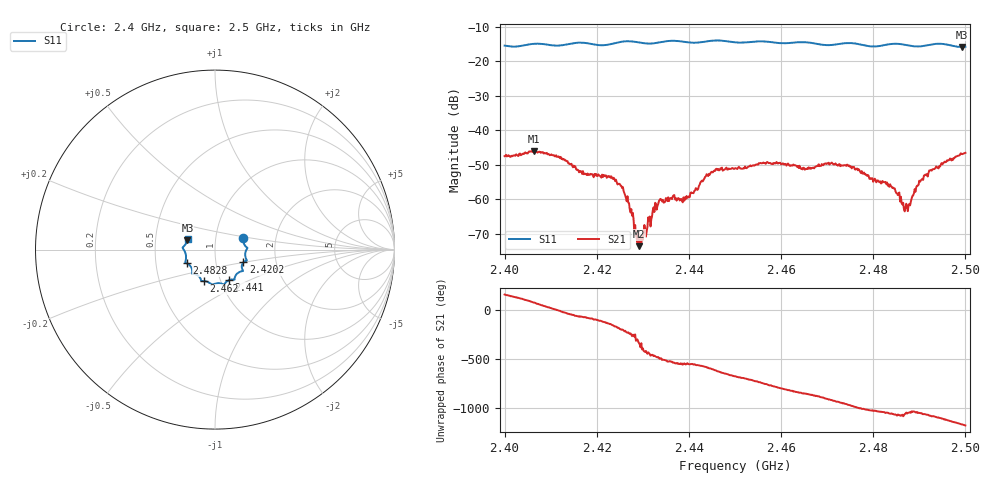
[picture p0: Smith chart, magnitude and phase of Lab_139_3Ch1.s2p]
# Hz S RI R 50
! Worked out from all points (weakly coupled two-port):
!   601 points, 2.4 GHz to 2.5 GHz, reference 50 ohm
!   highest |S21| = -46.02 dB at 2.4063 GHz (marker M1); lowest = -73.6 dB at 2.4292 GHz (marker M2)
!   lowest |S11| = -15.8 dB at 2.4993 GHz (marker M3), VSWR 1.39, Z = 36.5 + j3.86 ohm
!   |S11| at or under -10 dB: start of sweep to end of sweep
!   S12 and S22 are empty: the file has one direction only
!   S11 on the Smith chart (normalised r, x): 2.4 GHz: 1.36, +0.17; 2.4202 GHz: 1.36, -0.20; 2.441 GHz: 1.10, -0.39; 2.462 GHz: 0.84, -0.30; 2.4828 GHz: 0.72, -0.11; 2.5 GHz: 0.73, +0.09
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2.4e9  0.158 0.0623  -0.00377 0.00188  0 0  0 0
2.406333e9  0.1801 0.0108  0.00158 0.00474  0 0  0 0
2.411667e9  0.1682 -0.0248  0.00415 -0.000608  0 0  0 0
2.416667e9  0.1772 -0.0608  0.000844 -0.00238  0 0  0 0
2.420167e9  0.158 -0.0711  -0.000572 -0.0021  0 0  0 0
2.425333e9  0.155 -0.1152  -0.00143 0.000611  0 0  0 0
2.427167e9  0.1558 -0.1192  -0.00029 0.000648  0 0  0 0
2.429167e9  0.1442 -0.1215  0.000196 7e-05  0 0  0 0
2.433333e9  0.1115 -0.151  -0.000442 -0.000728  0 0  0 0
2.438833e9  0.0986 -0.1663  -0.00105 0.000203  0 0  0 0
2.441e9  0.0785 -0.1696  -0.00116 0.000376  0 0  0 0
2.4455e9  0.0511 -0.1945  -0.000788 0.00248  0 0  0 0
2.45e9  0.0282 -0.1876  0.00201 0.00197  0 0  0 0
2.462e9  -0.0607 -0.1756  -0.000687 -0.00296  0 0  0 0
2.466667e9  -0.0787 -0.1681  -0.00227 -0.00167  0 0  0 0
2.474333e9  -0.1266 -0.1346  -0.00148 0.00281  0 0  0 0
2.482833e9  -0.1573 -0.0764  0.00136 0.000935  0 0  0 0
2.483333e9  -0.1605 -0.0753  0.00144 0.00077  0 0  0 0
2.487167e9  -0.163 -0.0585  0.000704 0.000492  0 0  0 0
2.491167e9  -0.1688 -0.00963  0.00212 0.000705  0 0  0 0
2.499333e9  -0.1537 0.0515  0.000346 -0.00449  0 0  0 0
2.5e9  -0.1519 0.061  -0.000488 -0.00469  0 0  0 0
